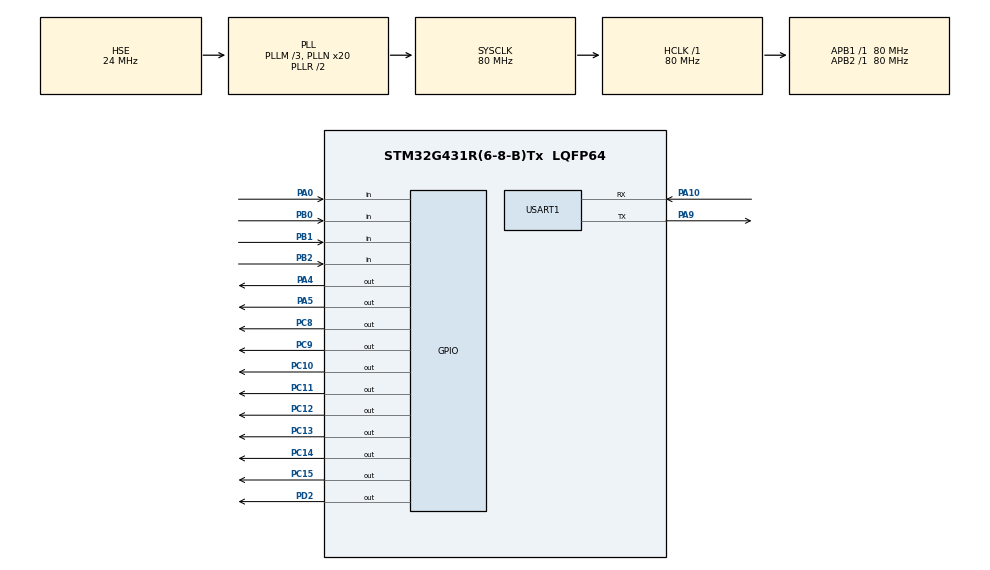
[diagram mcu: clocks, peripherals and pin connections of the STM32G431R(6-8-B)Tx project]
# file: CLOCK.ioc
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Mcu.Family=STM32G4
Mcu.Name=STM32G431R(6-8-B)Tx
Mcu.Package=LQFP64
NVIC.PriorityGroup=NVIC_PRIORITYGROUP_4
NVIC.TIM7_IRQn=true\:0\:0\:false\:false\:true\:true\:true\:true
NVIC.USART1_IRQn=true\:0\:0\:false\:false\:true\:true\:true\:true
PA0.Signal=GPIO_Input
PA10.Mode=Asynchronous
PA10.Signal=USART1_RX
PA13.Mode=Serial_Wire
PA13.Signal=SYS_JTMS-SWDIO
PA14.Mode=Serial_Wire
PA14.Signal=SYS_JTCK-SWCLK
PA4.Signal=GPIO_Output
PA5.Signal=GPIO_Output
PA9.Mode=Asynchronous
PA9.Signal=USART1_TX
PB0.Signal=GPIO_Input
PB1.Signal=GPIO_Input
PB2.Signal=GPIO_Input
PC10.Signal=GPIO_Output
PC11.Signal=GPIO_Output
PC12.Signal=GPIO_Output
PC13.Signal=GPIO_Output
PC14-OSC32_IN.Signal=GPIO_Output
PC15-OSC32_OUT.Signal=GPIO_Output
PC8.Signal=GPIO_Output
PC9.Signal=GPIO_Output
PD2.Signal=GPIO_Output
PF0-OSC_IN.Mode=HSE-External-Oscillator
PF0-OSC_IN.Signal=RCC_OSC_IN
PF1-OSC_OUT.Mode=HSE-External-Oscillator
PF1-OSC_OUT.Signal=RCC_OSC_OUT
ProjectManager.HeapSize=0x200
ProjectManager.StackSize=0x400
ProjectManager.TargetToolchain=MDK-ARM V5
RCC.ADC12Freq_Value=80000000
RCC.AHBFreq_Value=80000000
RCC.APB1Freq_Value=80000000
RCC.APB1TimFreq_Value=80000000
RCC.APB2Freq_Value=80000000
RCC.APB2TimFreq_Value=80000000
RCC.CortexFreq_Value=80000000
RCC.EXTERNAL_CLOCK_VALUE=12288000
RCC.HCLKFreq_Value=80000000
RCC.HSE_VALUE=24000000
RCC.HSI48_VALUE=48000000
RCC.HSI_VALUE=16000000
RCC.LSE_VALUE=32768
RCC.PLLM=RCC_PLLM_DIV3
RCC.PLLN=20
RCC.PLLSourceVirtual=RCC_PLLSOURCE_HSE
RCC.RTCClockSelection=RCC_RTCCLKSOURCE_HSE_DIV32
RCC.SYSCLKFreq_VALUE=80000000
RCC.SYSCLKSource=RCC_SYSCLKSOURCE_PLLCLK
RCC.USBFreq_Value=80000000
RCC.VCOOutputFreq_Value=160000000
RTC.AsynchPrediv=74
RTC.Date=30
RTC.Hours=23
RTC.Minutes=59
RTC.Month=RTC_MONTH_SEPTEMBER
RTC.Seconds=50
RTC.SynchPrediv=9999
RTC.Year=23
TIM7.PeriodNoDither=9
TIM7.Prescaler=7999
USART1.VirtualMode-Asynchronous=VM_ASYNC
VP_RTC_VS_RTC_Activate.Mode=RTC_Enabled
VP_RTC_VS_RTC_Calendar.Mode=RTC_Calendar
VP_SYS_VS_DBSignals.Mode=DisableDeadBatterySignals
VP_TIM7_VS_ClockSourceINT.Mode=Enable_Timer
board=custom

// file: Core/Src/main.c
/* USER CODE BEGIN Header */
/**
  ******************************************************************************
  * @file           : main.c
  * @brief          : Main program body
  ******************************************************************************
  * @attention
  *
  * Copyright (c) 2025 STMicroelectronics.
  * All rights reserved.
  *
  * This software is licensed under terms that can be found in the LICENSE file
  * in the root directory of this software component.
  * If no LICENSE file comes with this software, it is provided AS-IS.
  *
  ******************************************************************************
  */
/* USER CODE END Header */
#include "main.h"
#include "rtc.h"
#include "tim.h"
#include "usart.h"
#include "gpio.h"

/* USER CODE BEGIN Includes */
#include "lcd.h"
#include <stdio.h>
#include "string.h"
/* USER CODE END Includes */

/* USER CODE BEGIN PD */
#define UNLOCKLED       HAL_GPIO_WritePin(GPIOD,GPIO_PIN_2,GPIO_PIN_SET)
#define LOCKLED         HAL_GPIO_WritePin(GPIOD,GPIO_PIN_2,GPIO_PIN_RESET)
#define LEDFLOWLB 0X01
#define LEDFLOWLE 0X80
#define LEDFLOWRB 0x08
#define LEDFLOWRE 0X01

/* USER CODE END PD */

/* USER CODE BEGIN PV */
long long count=0;
int count_time=0;
u8 ucLed=0x01;
u32 uwTick_Lcd=0;
char LineString[1000];
char buffer[20];
uint8_t blink_state = 0;
volatile uint8_t blink_mask = 0x01;
u32 uwTick_LED_Speed_nms=0;
uint32_t flow_interval = 500;
int left_flag=1;
int right_flag=0;
u32 uwTick_Key=0;
u8 KeyValue;
u8 KeyState;
long long time_keep=0;
u8 timer_state=1;
int time=0;
char *text="Timer";
char *state_run="Status: Running";
char *state_stop="Status: time out";
char *state_set="Status: Setting";
char LineString1[1000];
char LineString2[1000];
u8 set_state=1;
u8 countdown_state;
RTC_TimeTypeDef H_M_S_Time;
RTC_DateTypeDef Y_M_D_Date;
char HelloStr[] = "Hello world\r\n";
char time_plus[]="time plus\r\n";
char time_reduce[]="time reduce\r\n";
char time_start[]="time start\r\n";
char time_out[]="time out\r\n";
char time_set[]="set state\r\n";
char LineString4[1000];
/* USER CODE END PV */

void SystemClock_Config(void);
/* USER CODE BEGIN PFP */
void LED_Disp(volatile uint8_t Led_num)
{

    HAL_GPIO_WritePin(GPIOC,GPIO_PIN_13|GPIO_PIN_14|GPIO_PIN_15|GPIO_PIN_8|GPIO_PIN_9|GPIO_PIN_10|GPIO_PIN_11|GPIO_PIN_12,GPIO_PIN_SET);
    UNLOCKLED;
    LOCKLED;

    HAL_GPIO_WritePin(GPIOC,Led_num<<8,GPIO_PIN_RESET);
    UNLOCKLED;
    LOCKLED;
}
void App_Low4Blink()
{
    blink_state ^= 1;
}

void lcd_middledisplay(u8 Line, char* sources)
{
    int paddling = (20 - strlen(sources)) / 2;
    snprintf(buffer, 20, "%*s%s%*s", paddling, "", sources,paddling, "");
    LCD_DisplayStringLine(Line, (u8*)buffer);
}
void Lcd_Pro(void){
		if((uwTick-uwTick_Lcd)<200)return;
		uwTick_Lcd=uwTick;
		HAL_RTC_GetTime(&hrtc,&H_M_S_Time,RTC_FORMAT_BIN);
		HAL_RTC_GetDate(&hrtc,&Y_M_D_Date,RTC_FORMAT_BIN);
		lcd_middledisplay(Line1, text);
		sprintf((char *)LineString2,"Time: %dS",time);
		lcd_middledisplay(Line3, LineString2);
		sprintf((char *)LineString2,"%d:%d:%d",H_M_S_Time.Hours,H_M_S_Time.Minutes,H_M_S_Time.Seconds);
		lcd_middledisplay(Line8, LineString2);
		sprintf((char *)LineString2,"%d:%d:%d",Y_M_D_Date.Year,Y_M_D_Date.Month,Y_M_D_Date.Date);
		lcd_middledisplay(Line9, LineString2);
		if(set_state){
			lcd_middledisplay(Line4, state_set);
			App_Low4Blink();
			ucLed = blink_state ? blink_mask : 0;
			LED_Disp(ucLed);
		}else if(countdown_state){
			lcd_middledisplay(Line4, state_run);
		}else{
			lcd_middledisplay(Line4, state_stop);
		}

}
uint8_t FlowLedLeft_app(volatile uint8_t Led_Bit)
{

    if((uwTick - uwTick_LED_Speed_nms)<flow_interval)   {return Led_Bit;}
        uwTick_LED_Speed_nms = uwTick;

    LED_Disp(Led_Bit);

    Led_Bit = Led_Bit<<1;
    if(Led_Bit == LEDFLOWLE)   Led_Bit =LEDFLOWLB;
    return  Led_Bit;

}
void Key_Pro(void){
		if((uwTick-uwTick_Key)<10)return;
		uwTick_Key=uwTick;
		KeyValue=key_scanf();
		if(KeyValue==1){
			KeyState=1;
		}else if(KeyValue==2){
			KeyState=2;
		}else if(KeyValue==3){
			KeyState=3;
		}else if(KeyValue==4){
			KeyState=4;
		}
		if(countdown_state==0&&KeyState==1){
		LED_Disp(0);
		countdown_state=1;
		set_state=0;
		time_keep=count;
		KeyState=0;
		sprintf((char *)LineString4,"Time: %dS\r\n",time);
		HAL_UART_Transmit(&huart1, (u8*)LineString4, strlen(LineString4), 0xffff);
		}else if(set_state&&KeyState==2){
		time++;
		KeyState=0;
		}else if(set_state&&KeyState==3){
		time--;
		KeyState=0;
		if(time<0){
			time++;
		}
		KeyState=0;
	}else if((countdown_state==0)&&(set_state==0)&&(KeyState==4)){
		set_state=1;
		KeyState=0;
	}else{
		KeyState=0;
	}
}
void HAL_TIM_PeriodElapsedCallback(TIM_HandleTypeDef *htim)
{

	if(htim==&htim7){
		count++;
	}
	if(count%1000==0){
		count_time++;
	}
	if(time<0){
		time=0;
		countdown_state=0;
		set_state=0;
		HAL_UART_Transmit(&huart1, (u8*)time_out, strlen(time_out), 0xffff);
	}
	if(countdown_state){
		if(count-time_keep>=1000){
			time_keep=count;
			time--;
			if(time>0){sprintf((char *)LineString4,"Time: %dS\r\n",time);
			HAL_UART_Transmit(&huart1, (u8*)LineString4, strlen(LineString4), 0xffff);}
		}

	}

}
void Rx_Process(void)
{
     if(Rx_flg ==1)
      {
        if(set_state==1&&(!strcmp((char *)Rx_Buff,"plus\r\n"))){
					time++;
					HAL_UART_Transmit(&huart1, (u8*)time_plus, strlen(time_plus), 0xffff);
				}
				else if(set_state==1&&(!strcmp((char *)Rx_Buff,"reduce\r\n"))){
					time--;
					HAL_UART_Transmit(&huart1, (u8*)time_reduce, strlen(time_reduce), 0xffff);
				}
				else if(set_state==1&&(!strcmp((char *)Rx_Buff,"start\r\n"))){
					countdown_state=1;
					set_state=0;
					time_keep=count;
					HAL_UART_Transmit(&huart1, (u8*)time_start, strlen(time_start), 0xffff);
					sprintf((char *)LineString4,"Time: %dS\r\n",time);
					HAL_UART_Transmit(&huart1, (u8*)LineString4, strlen(LineString4), 0xffff);
				}
				else if(set_state==0&&countdown_state==0&&(!strcmp((char *)Rx_Buff,"set\r\n"))){
					set_state=1;
					HAL_UART_Transmit(&huart1, (u8*)time_set, strlen(time_set), 0xffff);
				}

						memset(Rx_Buff,0x00, 256);
            Rx_cnt =0;
            Rx_flg =0;

}

}
/* USER CODE END PFP */

int main(void)
{

  /* MCU Configuration--------------------------------------------------------*/

  /* Reset of all peripherals, Initializes the Flash interface and the Systick. */
  HAL_Init();

  /* Configure the system clock */
  SystemClock_Config();

  /* Initialize all configured peripherals */
  MX_GPIO_Init();
  MX_TIM7_Init();
  MX_RTC_Init();
  MX_USART1_UART_Init();
  /* USER CODE BEGIN 2 */
	HAL_UART_Receive_IT(&huart1,&aRX,1);
	HAL_TIM_Base_Start_IT(&htim7);
	LCD_Init();
	LCD_Clear(White);
	LED_Disp(0);
	memset(Rx_Buff, 0x00, sizeof(Rx_Buff));
	HAL_UART_Transmit(&huart1,(u8 *) HelloStr, strlen(HelloStr), 0xffff);
  /* USER CODE END 2 */

  /* Infinite loop */
  /* USER CODE BEGIN WHILE */
  while (1)
  {
    Rx_Process();
		Lcd_Pro();
		Key_Pro();

    /* USER CODE END WHILE */

  }
}

void SystemClock_Config(void)
{
  RCC_OscInitTypeDef RCC_OscInitStruct = {0};
  RCC_ClkInitTypeDef RCC_ClkInitStruct = {0};

  /** Configure the main internal regulator output voltage
  */
  HAL_PWREx_ControlVoltageScaling(PWR_REGULATOR_VOLTAGE_SCALE1);

  /** Initializes the RCC Oscillators according to the specified parameters
  * in the RCC_OscInitTypeDef structure.
  */
  RCC_OscInitStruct.OscillatorType = RCC_OSCILLATORTYPE_HSE;
  RCC_OscInitStruct.HSEState = RCC_HSE_ON;
  RCC_OscInitStruct.PLL.PLLState = RCC_PLL_ON;
  RCC_OscInitStruct.PLL.PLLSource = RCC_PLLSOURCE_HSE;
  RCC_OscInitStruct.PLL.PLLM = RCC_PLLM_DIV3;
  RCC_OscInitStruct.PLL.PLLN = 20;
  RCC_OscInitStruct.PLL.PLLP = RCC_PLLP_DIV2;
  RCC_OscInitStruct.PLL.PLLQ = RCC_PLLQ_DIV2;
  RCC_OscInitStruct.PLL.PLLR = RCC_PLLR_DIV2;
  if (HAL_RCC_OscConfig(&RCC_OscInitStruct) != HAL_OK)
  {
    Error_Handler();
  }

  /** Initializes the CPU, AHB and APB buses clocks
  */
  RCC_ClkInitStruct.ClockType = RCC_CLOCKTYPE_HCLK|RCC_CLOCKTYPE_SYSCLK
                              |RCC_CLOCKTYPE_PCLK1|RCC_CLOCKTYPE_PCLK2;
  RCC_ClkInitStruct.SYSCLKSource = RCC_SYSCLKSOURCE_PLLCLK;
  RCC_ClkInitStruct.AHBCLKDivider = RCC_SYSCLK_DIV1;
  RCC_ClkInitStruct.APB1CLKDivider = RCC_HCLK_DIV1;
  RCC_ClkInitStruct.APB2CLKDivider = RCC_HCLK_DIV1;

  if (HAL_RCC_ClockConfig(&RCC_ClkInitStruct, FLASH_LATENCY_2) != HAL_OK)
  {
    Error_Handler();
  }
}

void Error_Handler(void)
{
  __disable_irq();
  while (1)
  {
  }
}
